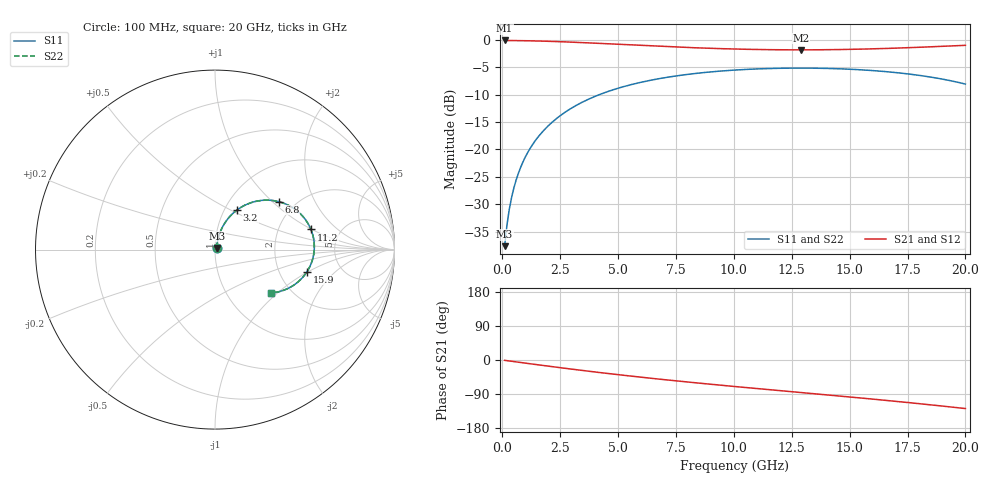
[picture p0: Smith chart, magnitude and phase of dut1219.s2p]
! Touchstone file exported from HFSS 2026.1.0
!  File:  C:/ffzhzh/LocalFiles/Ansys_Project_Files/temp_train_TSV_RDL_1219_1783320837_39728.aedt
!  Generated:  03:03:43 PM Jul  6, 2026
!  Design:  TSV_RDL
!  Project:  temp_train_TSV_RDL_1219_1783320837_39728
! Variables:
!  h_bsmrdl = 4.37um
!  h_ox = 20um
!  h_rdl = 5um
!  h_sub = 51.44um
!  h_tmrdl = 5.05um
!  h_tsv = 51.44um
!  h_via = 3um
!  l_bsmrdl = 195.74um
!  l_sub = 2389.53um
!  l_tmrdl = 323.66um
!  m_sub = 200um
!  pitch = 49.21um
!  r_tsv = 10.22um
!  s_tmrdl = 10um
!  w_bsmrdl = 21.15um
!  w_sub = 500um
!  w_tmrdl = 14.74um
!  x_tsv_center1 = 331.03um
!  x_tsv_center2 = 547.92um
!  x_tsv_center3 = 886.32um
!  x_tsv_center4 = 1103.21um
!  x_tsv_center5 = 1441.61um
!  x_tsv_center6 = 1658.5um
# GHz S MA R 50.000000
! Terminal data exported
! Port[1] = TM_RDL1_1_T1
! Port[2] = TM_RDL5_1_T1
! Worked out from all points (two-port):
!   200 points, 100 MHz to 20 GHz, reference 50 ohm
!   highest |S21| = -0.08 dB at 100 MHz (marker M1); lowest = -1.8 dB at 12.9 GHz (marker M2)
!   |S21| within 3 dB of the highest: start of sweep to end of sweep
!   lowest |S11| = -37.7 dB at 100 MHz (marker M3), VSWR 1.03, Z = 51 + j0.901 ohm
!   |S11| at or under -10 dB: start of sweep to 4.181 GHz
!   |S22| runs from -37.7 to -5.1 dB; largest |S21 - S12| = 7.6e-14
!   S11 on the Smith chart (normalised r, x): 100 MHz: 1.02, +0.02; 3.2 GHz: 1.14, +0.54; 6.8 GHz: 1.65, +1.10; 11.2 GHz: 3.06, +0.98; 15.9 GHz: 2.86, -0.97; 20 GHz: 1.59, -0.91
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0.1  0.01309 42.5  0.9904 -0.9  0.9904 -0.9  0.01309 42.5
! Gamma 0 0 0 0
! Port Impedance 50 0 50 0
0.2  0.02029 59.3  0.99 -1.7  0.99 -1.7  0.02029 59.3
0.3  0.02821 66.4  0.9895 -2.5  0.9895 -2.5  0.02821 66.4
0.4  0.03634 70.0  0.9889 -3.4  0.9889 -3.4  0.03634 70.0
0.5  0.04455 72.1  0.9884 -4.2  0.9884 -4.2  0.04455 72.1
0.7  0.06106 73.8  0.9871 -5.8  0.9871 -5.8  0.06106 73.8
1  0.08579 74.0  0.9848 -8.3  0.9848 -8.3  0.08579 74.0
1.4  0.1183 72.6  0.9809 -11.5  0.9809 -11.5  0.1183 72.6
1.9  0.158 69.7  0.9745 -15.6  0.9745 -15.6  0.158 69.7
2.5  0.2035 65.7  0.965 -20.3  0.965 -20.3  0.2035 65.7
3.2  0.2532 60.9  0.952 -25.7  0.952 -25.7  0.2532 60.9
3.5  0.2734 58.8  0.946 -27.9  0.946 -27.9  0.2734 58.8
5  0.3626 48.5  0.9138 -38.7  0.9138 -38.7  0.3626 48.5
6.8  0.4445 36.9  0.8761 -50.6  0.8761 -50.6  0.4445 36.9
10.1  0.5323 17.8  0.8265 -70.3  0.8265 -70.3  0.5323 17.8
11.2  0.5462 11.9  0.8178 -76.5  0.8178 -76.5  0.5462 11.9
12.9  0.5539 2.8  0.8128 -85.9  0.8128 -85.9  0.5539 2.8
13.4  0.5531 0.1  0.8134 -88.6  0.8134 -88.6  0.5531 0.1
15.9  0.5274 -13.4  0.8292 -102.6  0.8292 -102.6  0.5274 -13.4
16.7  0.5111 -17.9  0.8387 -107.3  0.8387 -107.3  0.5112 -17.9
18.5  0.4584 -28.4  0.8663 -118.3  0.8663 -118.3  0.4585 -28.4
20  0.3958 -37.7  0.8941 -128.2  0.8941 -128.2  0.3959 -37.7
